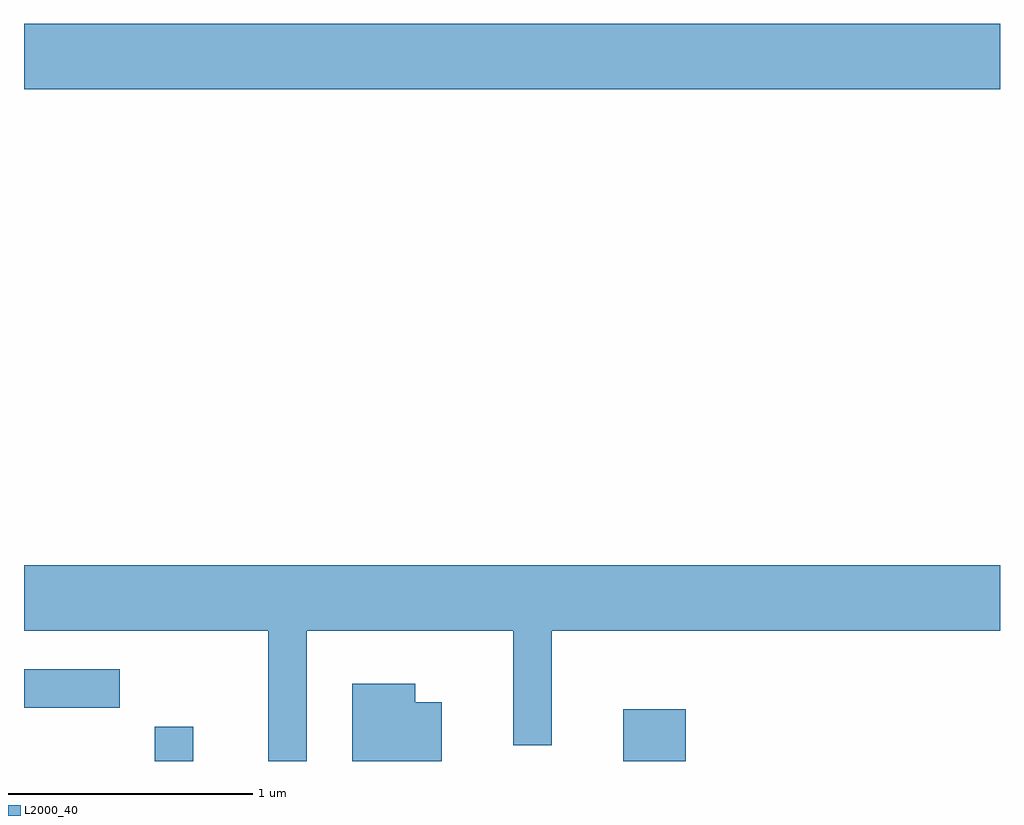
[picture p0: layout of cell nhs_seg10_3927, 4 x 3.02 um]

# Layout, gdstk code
import gdstk
lib = gdstk.Library(unit=1e-6, precision=1e-09)
def R(c, l, rs):  # rectangles x0, y0, x1, y1
    for r in rs: c.add(gdstk.rectangle(r[:2], r[2:], *l))
def P(c, l, *ps):  # polygons
    for p in ps: c.add(gdstk.Polygon(p, *l))
L2000_40 = (2000, 40)

nhs_seg10_3927 = lib.new_cell('nhs_seg10_3927')
R(nhs_seg10_3927, L2000_40, [(302.146,2084.522,302.304,2084.663), (304.066,2084.522,304.324,2084.734), (301.611,2084.741,302.003,2084.899), (301.611,2087.276,305.611,2087.544)])
P(nhs_seg10_3927, L2000_40, [(302.769,2085.056),(303.616,2085.056),(303.616,2084.588),(303.774,2084.588),(303.774,2085.056),(305.611,2085.056),(305.611,2085.324),(301.611,2085.324),(301.611,2085.056),(302.611,2085.056),(302.611,2084.522),(302.769,2084.522)],
  [(303.324,2084.764),(303.214,2084.764),(303.214,2084.839),(302.956,2084.839),(302.956,2084.522),(303.324,2084.522)])

lib.write_gds('nhs_seg10_3927.gds')
